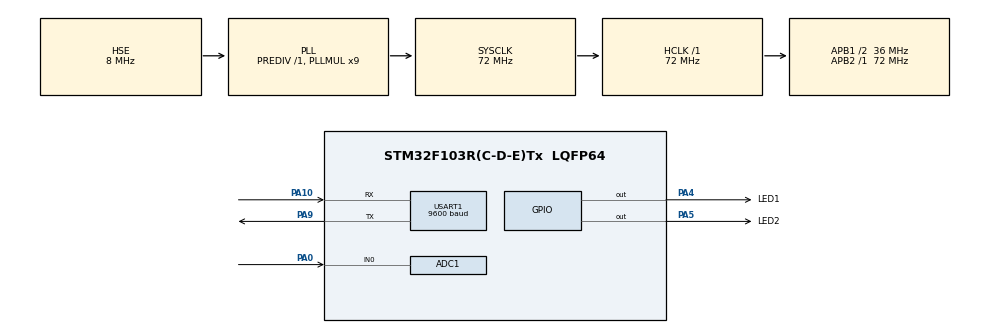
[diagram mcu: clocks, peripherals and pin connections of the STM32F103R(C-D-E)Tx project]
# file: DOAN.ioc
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ADC1.Channel-2\#ChannelRegularConversion=ADC_CHANNEL_0
ADC1.NbrOfConversionFlag=1
ADC1.Rank-2\#ChannelRegularConversion=1
ADC1.SamplingTime-2\#ChannelRegularConversion=ADC_SAMPLETIME_28CYCLES_5
ADC1.master=1
FREERTOS.Tasks01=defaultTask,0,256,StartDefaultTask,Default,NULL,Dynamic,NULL,NULL;myTask02,-3,256,StartTask02,Default,NULL,Dynamic,NULL,NULL;myTask03,-3,128,StartTask03,Default,NULL,Dynamic,NULL,NULL
Mcu.Family=STM32F1
Mcu.Name=STM32F103R(C-D-E)Tx
Mcu.Package=LQFP64
NVIC.PriorityGroup=NVIC_PRIORITYGROUP_4
NVIC.RCC_IRQn=true\:5\:0\:false\:false\:true\:true\:true\:false\:true
NVIC.USART1_IRQn=true\:5\:0\:false\:false\:true\:true\:true\:true\:true
PA0-WKUP.GPIO_Mode=GPIO_MODE_ANALOG
PA0-WKUP.Signal=ADCx_IN0
PA10.Mode=Asynchronous
PA10.Signal=USART1_RX
PA13.Mode=Serial_Wire
PA13.Signal=SYS_JTMS-SWDIO
PA14.Mode=Serial_Wire
PA14.Signal=SYS_JTCK-SWCLK
PA4.GPIO_Label=LED1
PA4.GPIO_Speed=GPIO_SPEED_FREQ_HIGH
PA4.PinState=GPIO_PIN_SET
PA4.Signal=GPIO_Output
PA5.GPIO_Label=LED2
PA5.GPIO_Speed=GPIO_SPEED_FREQ_HIGH
PA5.PinState=GPIO_PIN_SET
PA5.Signal=GPIO_Output
PA9.Mode=Asynchronous
PA9.Signal=USART1_TX
PD0-OSC_IN.Mode=HSE-External-Oscillator
PD0-OSC_IN.Signal=RCC_OSC_IN
PD1-OSC_OUT.Mode=HSE-External-Oscillator
PD1-OSC_OUT.Signal=RCC_OSC_OUT
ProjectManager.HeapSize=0x200
ProjectManager.StackSize=0x400
ProjectManager.TargetToolchain=STM32CubeIDE
RCC.ADCPresc=RCC_ADCPCLK2_DIV6
RCC.AHBFreq_Value=72000000
RCC.APB1CLKDivider=RCC_HCLK_DIV2
RCC.APB1Freq_Value=36000000
RCC.APB1TimFreq_Value=72000000
RCC.APB2Freq_Value=72000000
RCC.APB2TimFreq_Value=72000000
RCC.HCLKFreq_Value=72000000
RCC.PLLMUL=RCC_PLL_MUL9
RCC.PLLSourceVirtual=RCC_PLLSOURCE_HSE
RCC.SYSCLKFreq_VALUE=72000000
RCC.SYSCLKSource=RCC_SYSCLKSOURCE_PLLCLK
RCC.USBFreq_Value=72000000
SH.ADCx_IN0.0=ADC1_IN0,IN0
USART1.BaudRate=9600
USART1.VirtualMode=VM_ASYNC
VP_FREERTOS_VS_CMSIS_V1.Mode=CMSIS_V1
board=custom

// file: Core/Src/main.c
/* USER CODE BEGIN Header */
/**
  ******************************************************************************
  * @file           : main.c
  * @brief          : Main program body
  ******************************************************************************
  * @attention
  *
  * Copyright (c) 2024 STMicroelectronics.
  * All rights reserved.
  *
  * This software is licensed under terms that can be found in the LICENSE file
  * in the root directory of this software component.
  * If no LICENSE file comes with this software, it is provided AS-IS.
  *
  ******************************************************************************
  */
/* USER CODE END Header */
#include "main.h"
#include "cmsis_os.h"

ADC_HandleTypeDef hadc1;

UART_HandleTypeDef huart1;

osThreadId defaultTaskHandle;
osThreadId myTask02Handle;
osThreadId myTask03Handle;

void SystemClock_Config(void);
static void MX_GPIO_Init(void);
static void MX_ADC1_Init(void);
static void MX_USART1_UART_Init(void);
void StartDefaultTask(void const * argument);
void StartTask02(void const * argument);
void StartTask03(void const * argument);

int main(void)
{

  /* MCU Configuration--------------------------------------------------------*/

  /* Reset of all peripherals, Initializes the Flash interface and the Systick. */
  HAL_Init();

  /* Configure the system clock */
  SystemClock_Config();

  /* Initialize all configured peripherals */
  MX_GPIO_Init();
  MX_ADC1_Init();
  MX_USART1_UART_Init();

  /* Create the thread(s) */
  /* definition and creation of defaultTask */
  osThreadDef(defaultTask, StartDefaultTask, osPriorityNormal, 0, 256);
  defaultTaskHandle = osThreadCreate(osThread(defaultTask), NULL);

  /* definition and creation of myTask02 */
  osThreadDef(myTask02, StartTask02, osPriorityIdle, 0, 256);
  myTask02Handle = osThreadCreate(osThread(myTask02), NULL);

  /* definition and creation of myTask03 */
  osThreadDef(myTask03, StartTask03, osPriorityIdle, 0, 128);
  myTask03Handle = osThreadCreate(osThread(myTask03), NULL);

  /* Start scheduler */
  osKernelStart();

  /* We should never get here as control is now taken by the scheduler */
  /* Infinite loop */
  while (1)
  {

  }
}

void SystemClock_Config(void)
{
  RCC_OscInitTypeDef RCC_OscInitStruct = {0};
  RCC_ClkInitTypeDef RCC_ClkInitStruct = {0};
  RCC_PeriphCLKInitTypeDef PeriphClkInit = {0};

  /** Initializes the RCC Oscillators according to the specified parameters
  * in the RCC_OscInitTypeDef structure.
  */
  RCC_OscInitStruct.OscillatorType = RCC_OSCILLATORTYPE_HSE;
  RCC_OscInitStruct.HSEState = RCC_HSE_ON;
  RCC_OscInitStruct.HSEPredivValue = RCC_HSE_PREDIV_DIV1;
  RCC_OscInitStruct.HSIState = RCC_HSI_ON;
  RCC_OscInitStruct.PLL.PLLState = RCC_PLL_ON;
  RCC_OscInitStruct.PLL.PLLSource = RCC_PLLSOURCE_HSE;
  RCC_OscInitStruct.PLL.PLLMUL = RCC_PLL_MUL9;
  if (HAL_RCC_OscConfig(&RCC_OscInitStruct) != HAL_OK)
  {
    Error_Handler();
  }

  /** Initializes the CPU, AHB and APB buses clocks
  */
  RCC_ClkInitStruct.ClockType = RCC_CLOCKTYPE_HCLK|RCC_CLOCKTYPE_SYSCLK
                              |RCC_CLOCKTYPE_PCLK1|RCC_CLOCKTYPE_PCLK2;
  RCC_ClkInitStruct.SYSCLKSource = RCC_SYSCLKSOURCE_PLLCLK;
  RCC_ClkInitStruct.AHBCLKDivider = RCC_SYSCLK_DIV1;
  RCC_ClkInitStruct.APB1CLKDivider = RCC_HCLK_DIV2;
  RCC_ClkInitStruct.APB2CLKDivider = RCC_HCLK_DIV1;

  if (HAL_RCC_ClockConfig(&RCC_ClkInitStruct, FLASH_LATENCY_2) != HAL_OK)
  {
    Error_Handler();
  }
  PeriphClkInit.PeriphClockSelection = RCC_PERIPHCLK_ADC;
  PeriphClkInit.AdcClockSelection = RCC_ADCPCLK2_DIV6;
  if (HAL_RCCEx_PeriphCLKConfig(&PeriphClkInit) != HAL_OK)
  {
    Error_Handler();
  }
}

static void MX_ADC1_Init(void)
{

  ADC_ChannelConfTypeDef sConfig = {0};

  /** Common config
  */
  hadc1.Instance = ADC1;
  hadc1.Init.ScanConvMode = ADC_SCAN_DISABLE;
  hadc1.Init.ContinuousConvMode = DISABLE;
  hadc1.Init.DiscontinuousConvMode = DISABLE;
  hadc1.Init.ExternalTrigConv = ADC_SOFTWARE_START;
  hadc1.Init.DataAlign = ADC_DATAALIGN_RIGHT;
  hadc1.Init.NbrOfConversion = 1;
  if (HAL_ADC_Init(&hadc1) != HAL_OK)
  {
    Error_Handler();
  }

  /** Configure Regular Channel
  */
  sConfig.Channel = ADC_CHANNEL_0;
  sConfig.Rank = ADC_REGULAR_RANK_1;
  sConfig.SamplingTime = ADC_SAMPLETIME_28CYCLES_5;
  if (HAL_ADC_ConfigChannel(&hadc1, &sConfig) != HAL_OK)
  {
    Error_Handler();
  }

}

static void MX_USART1_UART_Init(void)
{

  huart1.Instance = USART1;
  huart1.Init.BaudRate = 9600;
  huart1.Init.WordLength = UART_WORDLENGTH_8B;
  huart1.Init.StopBits = UART_STOPBITS_1;
  huart1.Init.Parity = UART_PARITY_NONE;
  huart1.Init.Mode = UART_MODE_TX_RX;
  huart1.Init.HwFlowCtl = UART_HWCONTROL_NONE;
  huart1.Init.OverSampling = UART_OVERSAMPLING_16;
  if (HAL_UART_Init(&huart1) != HAL_OK)
  {
    Error_Handler();
  }

}

static void MX_GPIO_Init(void)
{
  GPIO_InitTypeDef GPIO_InitStruct = {0};

  /* GPIO Ports Clock Enable */
  __HAL_RCC_GPIOD_CLK_ENABLE();
  __HAL_RCC_GPIOA_CLK_ENABLE();

  /*Configure GPIO pin Output Level */
  HAL_GPIO_WritePin(GPIOA, LED1_Pin|LED2_Pin, GPIO_PIN_SET);

  /*Configure GPIO pins : LED1_Pin LED2_Pin */
  GPIO_InitStruct.Pin = LED1_Pin|LED2_Pin;
  GPIO_InitStruct.Mode = GPIO_MODE_OUTPUT_PP;
  GPIO_InitStruct.Pull = GPIO_NOPULL;
  GPIO_InitStruct.Speed = GPIO_SPEED_FREQ_HIGH;
  HAL_GPIO_Init(GPIOA, &GPIO_InitStruct);

}

void StartDefaultTask(void const *argument) {
	/* USER CODE BEGIN 5 */
	uint32_t adc_value[1];
	float v[1];
	/* Infinite loop */
	for (;;) {
		HAL_ADC_Start(&hadc1);
		HAL_ADC_PollForConversion(&hadc1, 100);

		adc_value[0] = HAL_ADC_GetValue(&hadc1);

		v[0] = adc_value[0] * 3.37 / 4096;

		uint32_t delay_ms = (uint32_t)v[0] * 1000; // Chuyển đổi thời gian thành giá trị nguyên

		HAL_GPIO_WritePin(GPIOA, GPIO_PIN_5, GPIO_PIN_SET);
		osDelay(delay_ms);
		HAL_GPIO_WritePin(GPIOA, GPIO_PIN_5, GPIO_PIN_RESET);
		osDelay(delay_ms);
	}
	/* USER CODE END 5 */
}

void StartTask02(void const * argument) {
    uint32_t adc_value[1];
    float v[1];
    uint8_t data_send[6];

    for (;;) {
        HAL_ADC_Start(&hadc1);
        HAL_ADC_PollForConversion(&hadc1, 100); // Wait for the ADC conversion to complete

        adc_value[0] = HAL_ADC_GetValue(&hadc1);

        v[0] = adc_value[0] * 3.37 / 4096;

        sprintf((char*)data_send, "%6.2f \r\n", v[0]);

        HAL_UART_Transmit(&huart1, data_send, strlen((char*)data_send), 100);
        osDelay(1000); // Add a delay after each transmission to avoid rapid ADC reads
    }
}

void StartTask03(void const * argument)
{
  /* USER CODE BEGIN StartTask03 */
  /* Infinite loop */
  for(;;)
  {
		HAL_GPIO_WritePin(GPIOA, GPIO_PIN_4, GPIO_PIN_SET);
		osDelay(1000);
		HAL_GPIO_WritePin(GPIOA, GPIO_PIN_4, GPIO_PIN_RESET);
		osDelay(1000);
  }
  /* USER CODE END StartTask03 */
}

void Error_Handler(void)
{
  __disable_irq();
  while (1)
  {
  }
}
